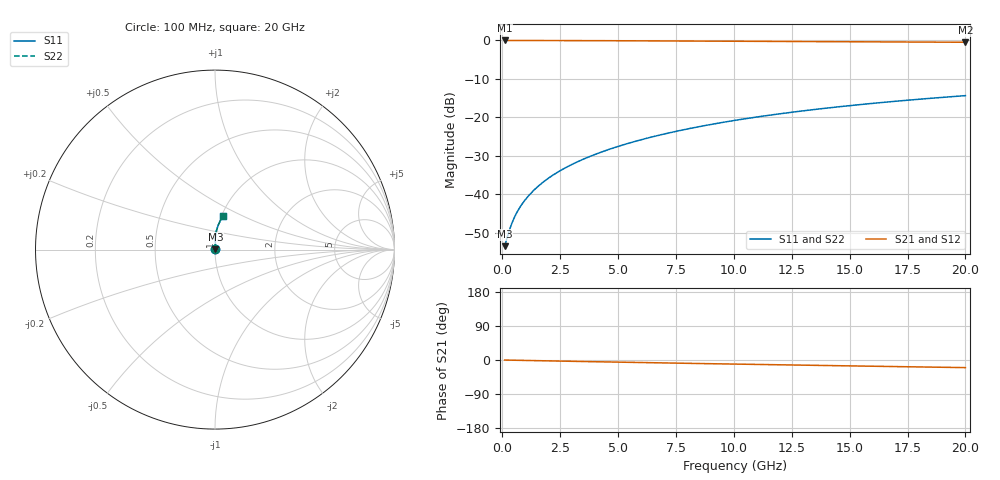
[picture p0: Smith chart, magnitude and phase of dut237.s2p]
! Touchstone file exported from HFSS 2024.1.0
!  File:  C:/UserFiles/LocalFiles/RDL_TSV_Batchsim/temp_RDL_top_237_1778688392.aedt
!  Generated:  12:08:36 AM May 14, 2026
!  Design:  RDL_top
!  Project:  temp_RDL_top_237_1778688392
!  Setup:  Setup1
!  Solution:  Sweep
! Variables:
!  dtsv = 10.80580581um
!  hbump = 3um
!  htsv = 81.77um
!  ldown = 100um
!  lrdl = 276.24um
!  p = 40
!  p1 = 43.5um
!  rhole = 1um
!  t = 450um
!  tdown = 3.915915916um
!  trdl = 2.62um
!  wdown = 15.38538539um
!  wrdl = 23.62um
# GHz S MA R 50.000000
! Terminal data exported
! Port[1] = Box2_T1
! Port[2] = Box2_T2
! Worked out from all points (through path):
!   200 points, 100 MHz to 20 GHz, reference 50 ohm
!   highest |S21| = -0.02 dB at 100 MHz (marker M1); lowest = -0.5 dB at 20 GHz (marker M2)
!   group delay of S21, straight-line fit = 2.76 ps
!   lowest |S11| = -53.5 dB at 100 MHz (marker M3), VSWR 1.00, Z = 50.2 + j0.0917 ohm
!   |S11| at or under -10 dB: start of sweep to end of sweep
!   |S22| runs from -53.5 to -14.4 dB; largest |S21 - S12| = 2.7e-15
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0.1  0.002105 25.7  0.9981 -0.1  0.9981 -0.1  0.002105 25.7
! Gamma 0 0 0 0
! Port Impedance 50 0 50 0
0.3  0.003351 52.8  0.9979 -0.4  0.9979 -0.4  0.003351 52.8
0.4  0.004082 58.9  0.9978 -0.5  0.9978 -0.5  0.004082 58.9
0.5  0.004821 63.2  0.9977 -0.6  0.9977 -0.6  0.00482 63.2
0.6  0.005558 66.3  0.9976 -0.7  0.9976 -0.7  0.005558 66.3
0.7  0.006294 68.8  0.9975 -0.8  0.9975 -0.8  0.006293 68.8
0.9  0.007769 72.6  0.9973 -1.1  0.9973 -1.1  0.007769 72.6
1.2  0.01001 76.6  0.997 -1.4  0.997 -1.4  0.01001 76.6
1.7  0.01383 80.7  0.9965 -2.0  0.9965 -2.0  0.01383 80.7
2.2  0.01777 83.3  0.9958 -2.6  0.9958 -2.6  0.01777 83.3
2.8  0.02263 85.4  0.9948 -3.2  0.9948 -3.2  0.02263 85.4
3.5  0.0285 87.0  0.9934 -4.0  0.9934 -4.0  0.0285 87.0
4.2  0.03457 87.9  0.9918 -4.8  0.9918 -4.8  0.03457 87.9
5  0.04175 88.6  0.9898 -5.7  0.9898 -5.7  0.04175 88.6
5.9  0.05011 88.9  0.9873 -6.6  0.9873 -6.6  0.05011 88.9
6.8  0.05871 88.8  0.9847 -7.6  0.9847 -7.6  0.05871 88.8
8.4  0.0745 88.1  0.9799 -9.2  0.9799 -9.2  0.0745 88.1
10.1  0.09169 86.8  0.9747 -10.9  0.9747 -10.9  0.09169 86.8
11.7  0.108 85.4  0.9699 -12.4  0.9699 -12.4  0.108 85.4
13.4  0.1254 83.6  0.9649 -14.0  0.9649 -14.0  0.1254 83.6
16.7  0.1588 80.1  0.9553 -17.1  0.9553 -17.1  0.1587 80.1
20  0.1911 76.5  0.9457 -20.1  0.9457 -20.1  0.1911 76.5
